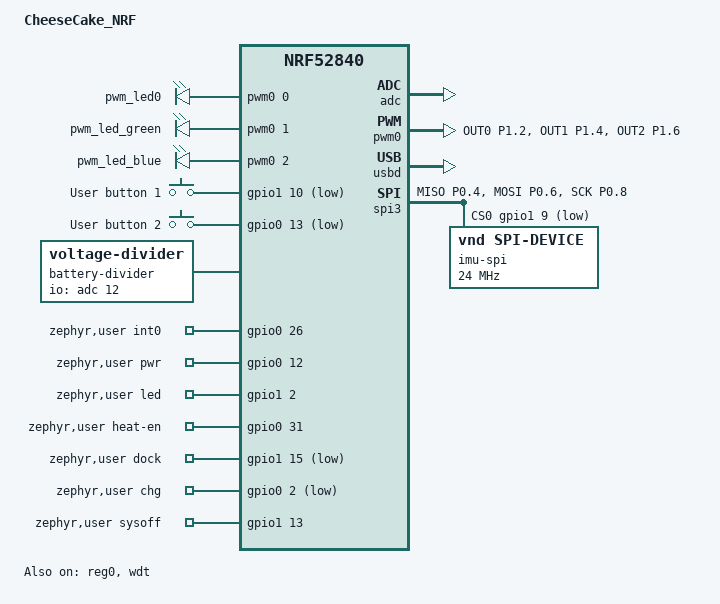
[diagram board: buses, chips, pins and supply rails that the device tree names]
/* Copyright (c) 2026 */
/* SPDX-License-Identifier: Apache-2.0 */

#include <nordic/nrf52840_qiaa.dtsi>

&pinctrl {
	pwm0_default: pwm0_default {
		group1 {
			psels = <NRF_PSEL(PWM_OUT0, 1, 2)>,
				<NRF_PSEL(PWM_OUT1, 1, 4)>,
				<NRF_PSEL(PWM_OUT2, 1, 6)>;
			nordic,drive-mode = <NRF_DRIVE_D0S1>;
		};
	};

	pwm0_sleep: pwm0_sleep {
		group1 {
			psels = <NRF_PSEL(PWM_OUT0, 1, 2)>,
				<NRF_PSEL(PWM_OUT1, 1, 4)>,
				<NRF_PSEL(PWM_OUT2, 1, 6)>;
			low-power-enable;
		};
	};

	spi3_default: spi3_default {
		group1 {
			psels = <NRF_PSEL(SPIM_MISO, 0, 4)>,
				<NRF_PSEL(SPIM_MOSI, 0, 6)>,
				<NRF_PSEL(SPIM_SCK, 0, 8)>;
		};
	};

	spi3_sleep: spi3_sleep {
		group1 {
			psels = <NRF_PSEL(SPIM_MISO, 0, 4)>,
				<NRF_PSEL(SPIM_MOSI, 0, 6)>,
				<NRF_PSEL(SPIM_SCK, 0, 8)>;
			low-power-enable;
		};
	};
};

/ {
	model = "CheeseCake_NRF";
	compatible = "crazt,cheesecake-nrf";

	chosen {
		zephyr,sram = &sram0;
		zephyr,flash = &flash0;
		zephyr,console = &cdc_acm_uart0;
		zephyr,shell-uart = &cdc_acm_uart0;
	};

	pwmleds {
		compatible = "pwm-leds";
		pwm_led0: pwm_led_0 {
			pwms = <&pwm0 0 PWM_MSEC(1) PWM_POLARITY_NORMAL>;
		};
		pwm_led_green: pwm_led_1 {
			pwms = <&pwm0 1 PWM_MSEC(1) PWM_POLARITY_NORMAL>;
		};
		pwm_led_blue: pwm_led_2 {
			pwms = <&pwm0 2 PWM_MSEC(1) PWM_POLARITY_NORMAL>;
		};
	};

	buttons {
		compatible = "gpio-keys";
		button0: button_0 {
			gpios = <&gpio1 10 (GPIO_PULL_UP | GPIO_ACTIVE_LOW)>;
			label = "User button 1";
		};
		button1: button_1 {
			gpios = <&gpio0 13 (GPIO_PULL_UP | GPIO_ACTIVE_LOW)>;
			label = "User button 2";
		};
	};

	aliases {
		sw0 = &button0;
		sw1 = &button1;
		pwm-led0 = &pwm_led0;
	};

	battery-divider {
		compatible = "voltage-divider";
		status = "okay";
		io-channels = <&adc 12>; /* VDDH/5 */
		output-ohms = <1>;
		full-ohms = <5>;
	};

	zephyr,user {
		int0-gpios = <&gpio0 26 0>;
		pwr-gpios = <&gpio0 12 GPIO_ACTIVE_HIGH>;
		led-gpios = <&gpio1 2 GPIO_OPEN_SOURCE>;
		heat-en-gpios = <&gpio0 31 GPIO_ACTIVE_HIGH>;
		dock-gpios = <&gpio1 15 (GPIO_ACTIVE_LOW | GPIO_PULL_UP)>;
		chg-gpios = <&gpio0 2 (GPIO_ACTIVE_LOW | GPIO_PULL_UP)>;
		sysoff-gpios = <&gpio1 13 GPIO_ACTIVE_HIGH>;
	};
};

&reg0 {
	status = "okay";
};

&reg1 {
	regulator-initial-mode = <NRF5X_REG_MODE_DCDC>;
};

&adc {
	status = "okay";
};

&gpiote {
	status = "okay";
};

&gpio0 {
	status = "okay";
};

&gpio1 {
	status = "okay";
};

&pwm0 {
	status = "okay";
	pinctrl-0 = <&pwm0_default>;
	pinctrl-1 = <&pwm0_sleep>;
	pinctrl-names = "default", "sleep";
};

zephyr_udc0: &usbd {
	compatible = "nordic,nrf-usbd";
	status = "okay";
	cdc_acm_uart0: cdc_acm_uart0 {
		compatible = "zephyr,cdc-acm-uart";
	};
};

&wdt {
	status = "okay";
};

&cryptocell {
	status = "disabled";
};

&nfct {
	status = "disabled";
};

&spi3 {
	compatible = "nordic,nrf-spim";
	status = "okay";
	max-frequency = <DT_FREQ_M(24)>;
	pinctrl-0 = <&spi3_default>;
	pinctrl-1 = <&spi3_sleep>;
	pinctrl-names = "default", "sleep";
	cs-gpios = <&gpio1 9 GPIO_ACTIVE_LOW>;

	imu_spi: imu_spi@0 {
		compatible = "vnd,spi-device";
		spi-max-frequency = <DT_FREQ_M(24)>;
		label = "imu-spi";
		reg = <0>;
	};
};
